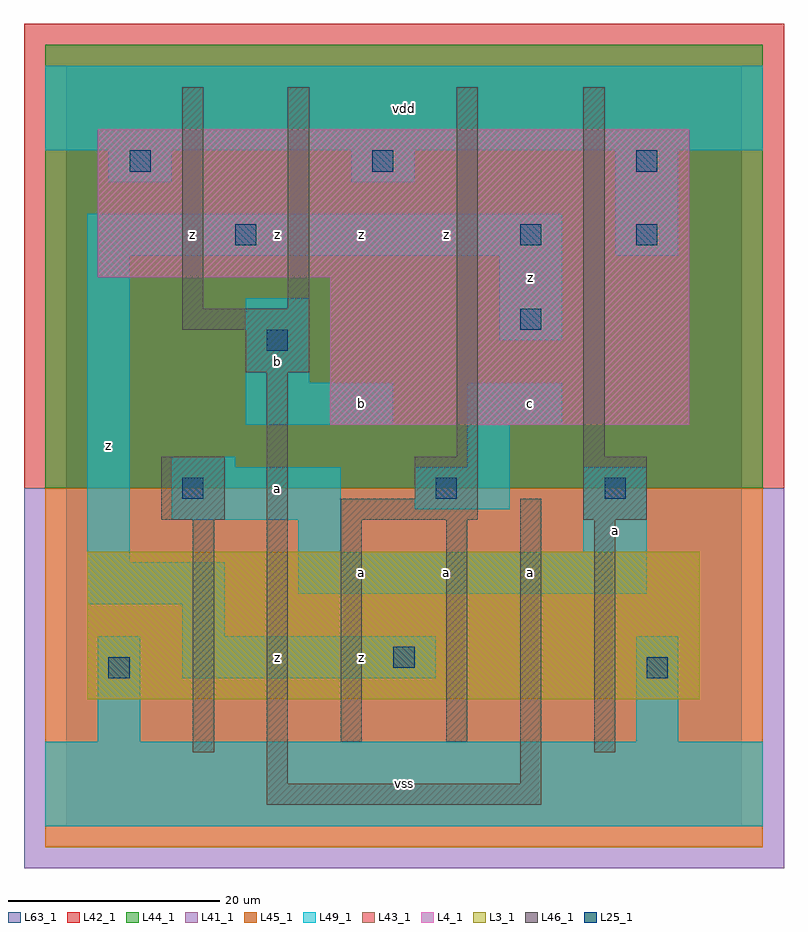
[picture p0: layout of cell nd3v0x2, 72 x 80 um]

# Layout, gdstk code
import gdstk
lib = gdstk.Library(unit=1e-6, precision=1e-09)
def R(c, l, rs):  # rectangles x0, y0, x1, y1
    for r in rs: c.add(gdstk.rectangle(r[:2], r[2:], *l))
L3_1 = (3, 1)
L4_1 = (4, 1)
L25_1 = (25, 1)
L41_1 = (41, 1)
L42_1 = (42, 1)
L43_1 = (43, 1)
L44_1 = (44, 1)
L45_1 = (45, 1)
L46_1 = (46, 1)
L49_1 = (49, 1)
L63_1 = (63, 1)

nd3v0x2 = lib.new_cell('nd3v0x2')
R(nd3v0x2, L3_1, [(2,12,60,26)])
R(nd3v0x2, L4_1, [(25,38,59,52), (3,52,59,66)])
R(nd3v0x2, L25_1, [(4,14,6,16), (55,14,57,16), (31,15,33,17), (11,31,13,33), (35,31,37,33), (51,31,53,33), (19,45,21,47), (43,47,45,49), (16,55,18,57), (43,55,45,57), (54,55,56,57), (6,62,8,64), (29,62,31,64), (54,62,56,64)])
R(nd3v0x2, L41_1, [(-4,-4,68,32)])
R(nd3v0x2, L42_1, [(-4,32,68,76)])
R(nd3v0x2, L43_1, [(2,12,60,26), (25,38,59,52), (3,52,59,66)])
R(nd3v0x2, L44_1, [(-2,32,66,74)])
R(nd3v0x2, L45_1, [(-2,-2,66,32)])
R(nd3v0x2, L46_1, [(19,2,45,4), (19,4,21,43), (43,4,45,31), (12,7,14,29), (50,7,52,29), (26,8,28,29), (36,8,38,29), (9,29,15,35), (26,29,39,31), (49,29,55,35), (33,31,39,35), (37,35,39,70), (49,35,51,70), (17,43,23,47), (11,47,23,49), (11,49,13,70), (21,49,23,70)])
R(nd3v0x2, L49_1, [(-2,0,66,8), (3,8,7,18), (54,8,58,18), (11,14,35,18), (11,18,15,21), (2,21,15,25), (22,22,55,26), (2,25,6,54), (22,26,26,29), (49,26,55,34), (10,29,26,34), (33,30,42,34), (10,34,16,35), (38,34,42,38), (17,38,31,42), (38,38,47,42), (17,42,23,50), (41,46,47,54), (2,54,47,58), (52,54,58,64), (4,61,10,64), (27,61,33,64), (-2,64,66,72)])
R(nd3v0x2, L63_1, [(0,0,64,72)])
nd3v0x2.add(gdstk.Label('z', (4,36), layer=49, texttype=1))
nd3v0x2.add(gdstk.Label('z', (20,16), layer=49, texttype=1))
nd3v0x2.add(gdstk.Label('a', (20,32), layer=49, texttype=1))
nd3v0x2.add(gdstk.Label('b', (20,44), layer=49, texttype=1))
nd3v0x2.add(gdstk.Label('z', (20,56), layer=49, texttype=1))
nd3v0x2.add(gdstk.Label('z', (12,56), layer=49, texttype=1))
nd3v0x2.add(gdstk.Label('vss', (32,4), layer=49, texttype=1))
nd3v0x2.add(gdstk.Label('z', (28,16), layer=49, texttype=1))
nd3v0x2.add(gdstk.Label('a', (28,24), layer=49, texttype=1))
nd3v0x2.add(gdstk.Label('a', (36,24), layer=49, texttype=1))
nd3v0x2.add(gdstk.Label('b', (28,40), layer=49, texttype=1))
nd3v0x2.add(gdstk.Label('z', (36,56), layer=49, texttype=1))
nd3v0x2.add(gdstk.Label('z', (28,56), layer=49, texttype=1))
nd3v0x2.add(gdstk.Label('vdd', (32,68), layer=49, texttype=1))
nd3v0x2.add(gdstk.Label('a', (44,24), layer=49, texttype=1))
nd3v0x2.add(gdstk.Label('c', (44,40), layer=49, texttype=1))
nd3v0x2.add(gdstk.Label('z', (44,52), layer=49, texttype=1))
nd3v0x2.add(gdstk.Label('a', (52,28), layer=49, texttype=1))

lib.write_gds('nd3v0x2.gds')
